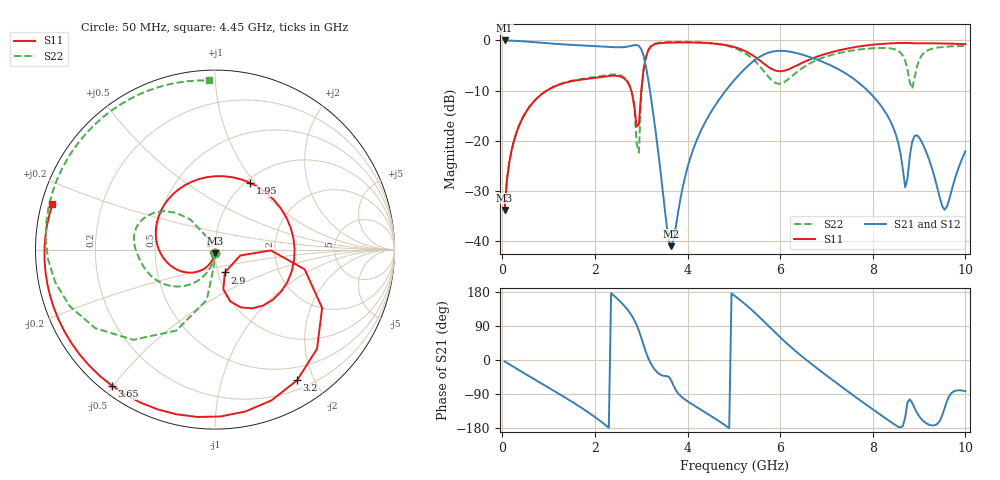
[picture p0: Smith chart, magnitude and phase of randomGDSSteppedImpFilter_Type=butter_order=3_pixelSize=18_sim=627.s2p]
! freq	dB(S11)	phase(S11)	dB(S12)	phase(S12)
!  dB(S21)	phase(S21)	dB(S22)	phase(S22)
!S-par simulation data
#  GHz  S  DB  R 50
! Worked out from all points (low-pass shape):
!   200 points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, 50 MHz to 10 GHz, reference 50 ohm
!   highest |S21| = -0.01 dB at 50 MHz (marker M1); lowest = -41.0 dB at 3.65 GHz (marker M2)
!   |S21| within 3 dB of the highest: start of sweep to 3.049 GHz; 5.61 GHz to 6.537 GHz (927.8 MHz wide, 15.3 % of centre)
!   lowest |S11| = -33.8 dB at 50 MHz (marker M3), VSWR 1.04, Z = 49.8 - j2.03 ohm
!   |S11| at or under -10 dB: start of sweep to 965.6 MHz; 2.783 GHz to 3.002 GHz (218.1 MHz wide, 7.54 % of centre)
!   |S22| runs from -33.8 to -0.3 dB; largest |S21 - S12| = 0
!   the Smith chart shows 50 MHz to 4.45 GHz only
!   S11 on the Smith chart (normalised r, x): 50 MHz: 1.00, -0.04; 1.95 GHz: 1.05, +0.95; 2.9 GHz: 1.08, -0.28; 3.2 GHz: 0.32, -1.77; 3.65 GHz: 0.03, -0.50; 4.45 GHz: 0.03, +0.14
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0.05  -33.80 -94.3  -0.01 -3.8  -0.01 -3.8  -33.79 -92.4
0.5  -14.47 -137.2  -0.21 -37.0  -0.21 -37.0  -14.44 -117.7
1.75  -7.77 90.0  -1.01 -129.4  -1.01 -129.4  -7.63 -169.5
1.95  -7.53 62.2  -1.10 -146.1  -1.10 -146.1  -7.35 -175.1
2.7  -8.24 -57.7  -1.25 133.5  -1.25 133.5  -8.04 148.8
2.9  -17.16 -66.7  -0.92 92.6  -0.92 92.6  -20.38 124.2
3.2  -1.31 -57.8  -10.76 -7.7  -10.76 -7.7  -1.22 -158.8
3.4  -0.56 -96.0  -24.79 -37.7  -24.79 -37.7  -0.43 170.8
3.65  -0.43 -127.1  -41.04 -54.4  -41.04 -54.4  -0.31 148.3
4.45  -0.54 164.4  -15.16 -143.5  -15.16 -143.5  -0.51 92.0
5.05  -1.43 121.2  -7.49 166.6  -7.49 166.6  -1.66 38.1
5.75  -5.32 86.2  -2.45 89.8  -2.45 89.8  -7.28 -78.7
6.2  -5.69 87.9  -2.23 37.6  -2.23 37.6  -7.56 161.5
6.7  -3.58 73.6  -3.51 -12.8  -3.51 -12.8  -4.31 75.0
7.4  -1.72 41.7  -6.51 -77.2  -6.51 -77.2  -2.27 -20.9
8.35  -0.61 -2.9  -15.55 -160.0  -15.55 -160.0  -1.56 -150.1
8.7  -0.50 -18.4  -29.30 -150.9  -29.30 -150.9  -4.05 126.5
8.85  -0.55 -24.8  -20.27 -112.9  -20.27 -112.9  -9.64 -4.7
9  -0.58 -30.4  -19.36 -148.1  -19.36 -148.1  -3.95 -115.9
9.25  -0.58 -40.0  -24.71 -172.1  -24.71 -172.1  -1.75 -172.4
9.55  -0.62 -51.2  -33.77 -127.7  -33.77 -127.7  -1.28 151.9
10  -0.75 -67.8  -22.12 -82.4  -22.12 -82.4  -1.14 109.9
